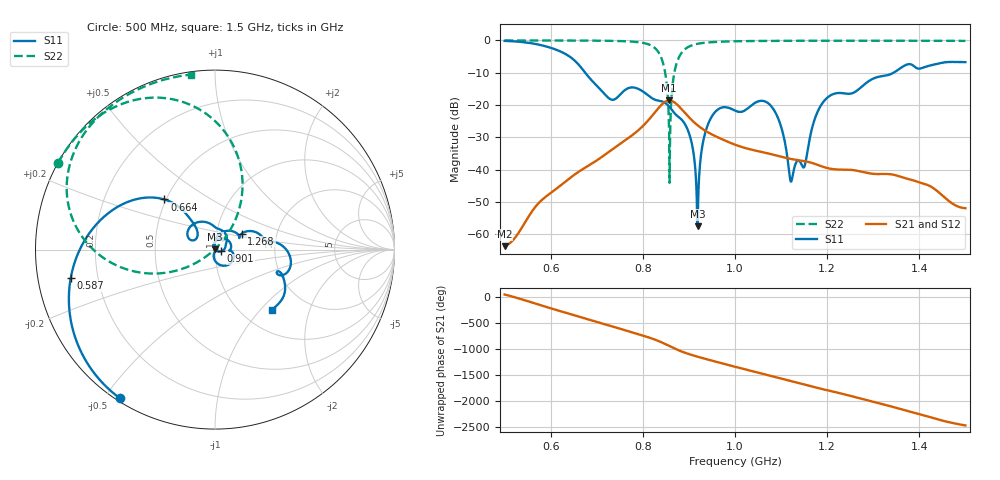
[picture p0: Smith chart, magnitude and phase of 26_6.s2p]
! TOUCHSTONE file generated by CST MICROWAVE STUDIO
! Date and time: Fri Oct  2 18:58:13 2020
! Project name: Scenario_1_Free_Space_out_of_line.cst
! Parameters = {Lambda=346.42; Step_1=17.321; dy1=-85.885; dx1=1039; L_HA=400; MT=2.54; Rad_Dielectric=30; Rad_Lower=7.3; Rad_Upper=30; a_HA=580; a_WG=246; b_HA=500; b_WG=121; c_HA=0; c_WG=187; d_feed=85; h_feed=15; h_lower=18; h_upper=40}
! Header version: 2018
! Port assignment regex: !\s*Touchstone port\s*([0-9]+)\s*=\s*(CST MWS port|CST DS port)\s*([0-9]+|Zmin|Zmax)\s*\(\"(.*)\"\)(\s*mode\s*([0-9]+))?.*
! Touchstone port assignment:
! Touchstone port 1 = CST MWS port 1 ("")
! Touchstone port 2 = CST MWS port 2 ("")
# GHz S DB R 50
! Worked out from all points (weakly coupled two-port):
!   1003 points, 500 MHz to 1.5 GHz, reference 50 ohm
!   highest |S21| = -18.56 dB at 857 MHz (marker M1); lowest = -63.6 dB at 500 MHz (marker M2)
!   lowest |S11| = -57.5 dB at 919 MHz (marker M3), VSWR 1.00, Z = 50 + j0.131 ohm
!   |S11| at or under -10 dB: 675.1 MHz to 1.344 GHz (668.8 MHz wide, 66.3 % of centre)
!   |S22| runs from -44.0 to 0.0 dB; largest |S21 - S12| = 3.7e-05
!   S11 on the Smith chart (normalised r, x): 500 MHz: 0.01, -0.55; 587 MHz: 0.10, -0.10; 664 MHz: 0.49, +0.32; 901 MHz: 1.07, -0.02; 1.268 GHz: 1.33, +0.25; 1.5 GHz: 1.36, -1.16
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0.5  -0.15 -122.6  -63.62 46.6  -63.62 46.6  -0.01 151.1
0.587  -1.74 -168.9  -48.59 177.0  -48.59 176.9  -0.02 145.1
0.664  -8.03 135.3  -40.30 -24.2  -40.30 -24.2  -0.04 138.6
0.667  -8.55 133.6  -40.03 -32.2  -40.03 -32.2  -0.04 138.3
0.73  -18.21 142.9  -34.08 165.6  -34.08 165.6  -0.13 130.7
0.834  -18.62 80.5  -20.91 -124.4  -20.91 -124.4  -3.66 85.1
0.848  -19.29 61.3  -19.00 -179.7  -19.00 -179.7  -9.63 63.1
0.857  -20.43 47.0  -18.56 141.5  -18.56 141.5  -28.08 48.9
0.873  -23.15 28.1  -19.66 74.8  -19.66 74.8  -7.21 -162.9
0.901  -29.05 -16.3  -23.88 -17.9  -23.88 -17.9  -1.84 168.1
0.919  -57.54 79.2  -26.26 -65.6  -26.26 -65.6  -1.03 158.5
0.93  -31.89 104.0  -27.42 -92.8  -27.42 -92.8  -0.79 154.4
0.945  -24.76 76.0  -28.70 -128.9  -28.70 -128.9  -0.58 150.1
1  -21.68 -2.0  -32.23 102.6  -32.23 102.6  -0.26 140.2
1.078  -20.23 -66.0  -35.16 -74.1  -35.16 -74.1  -0.14 131.6
1.122  -43.67 -40.8  -36.67 -172.7  -36.67 -172.7  -0.11 127.8
1.151  -38.88 56.1  -37.32 121.5  -37.32 121.5  -0.10 125.4
1.167  -27.25 90.7  -37.88 84.1  -37.88 84.1  -0.10 124.1
1.201  -17.62 53.1  -39.49 10.1  -39.49 10.1  -0.09 121.5
1.268  -15.16 30.9  -40.39 -137.3  -40.39 -137.3  -0.09 116.4
1.334  -10.62 9.1  -41.33 73.6  -41.33 73.6  -0.09 111.4
1.5  -6.70 -46.5  -51.89 56.9  -51.76 57.0  -0.14 97.8
